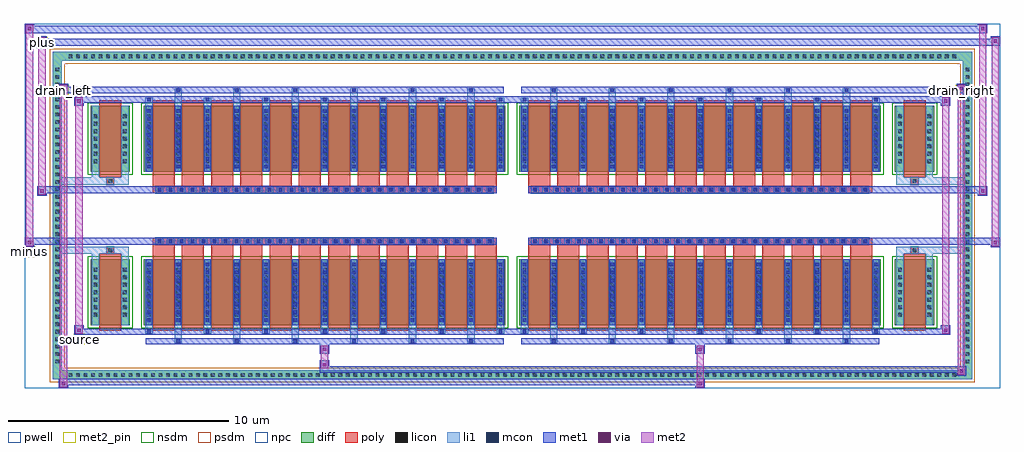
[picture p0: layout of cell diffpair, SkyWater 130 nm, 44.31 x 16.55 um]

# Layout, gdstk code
import gdstk
lib = gdstk.Library(unit=1e-6, precision=5e-09)
def R(c, l, rs):  # rectangles x0, y0, x1, y1
    for r in rs: c.add(gdstk.rectangle(r[:2], r[2:], *l))
def A(c, l, x, y, w, h, nx, ny, dx, dy):  # array of equal rectangles
    R(c, l, [(x+i*dx, y+j*dy, x+i*dx+w, y+j*dy+h) for i in range(nx) for j in range(ny)])
def P(c, l, *ps):  # polygons
    for p in ps: c.add(gdstk.Polygon(p, *l))
pwell = (64, 44)
diff = (65, 20)
poly = (66, 20)
licon = (66, 44)
li1 = (67, 20)
mcon = (67, 44)
met1 = (68, 20)
via = (68, 44)
met2_pin = (69, 16)
met2 = (69, 20)
nsdm = (93, 44)
psdm = (94, 20)
npc = (95, 20)

diffpair = lib.new_cell('diffpair')
R(diffpair, pwell, [(-22.14,-7.84,22.14,8.71), (-19.46,-6.03,-0.01,-0.805), (0.01,-6.03,19.46,-0.805), (-19.46,0.805,-0.01,6.03), (0.01,0.805,19.46,6.03)])
A(diffpair, diff, -20.265, -7.44, 0.41, 0.41, 119, 2, 0.34, 14.47)
A(diffpair, diff, -20.87, -6.835, 0.41, 0.41, 1, 40, 0, 0.34)
A(diffpair, diff, 20.46, -6.835, 0.41, 0.41, 1, 40, 0, 0.34)
R(diffpair, diff, [(-20.265,-7.44,20.265,-7.03), (-20.87,-6.835,-20.46,6.835), (20.46,-6.835,20.87,6.835), (-19.15,-4.985,-17.37,-1.985), (-16.73,-4.985,-0.32,-1.985), (0.32,-4.985,16.73,-1.985), (17.37,-4.985,19.15,-1.985), (-19.15,1.985,-17.37,4.985), (-16.73,1.985,-0.32,4.985), (0.32,1.985,16.73,4.985), (17.37,1.985,19.15,4.985), (-20.265,7.03,20.265,7.44)])
P(diffpair, diff, [(20.87,7.44),(-20.87,7.44),(-20.87,-7.03),(-20.46,-7.03),(-20.46,7.03),(20.46,7.03),(20.46,-7.03),(-20.46,-7.03),(-20.87,-7.03),(-20.87,-7.44),(20.87,-7.44)])
A(diffpair, poly, -16.34, -5.235, 1, 3.5, 12, 2, 1.33, 6.97)
A(diffpair, poly, 0.71, -5.235, 1, 3.5, 12, 2, 1.33, 6.97)
A(diffpair, poly, -16.34, -1.735, 1, 0.4, 12, 2, 1.33, 3.07)
A(diffpair, poly, 0.71, -1.735, 1, 0.4, 12, 2, 1.33, 3.07)
A(diffpair, poly, -16.19, -1.335, 0.33, 0.33, 31, 2, 0.5, 2.34)
A(diffpair, poly, 0.86, -1.335, 0.33, 0.33, 31, 2, 0.5, 2.34)
R(diffpair, poly, [(-18.76,-5.235,-17.76,-1.735), (17.76,-5.235,18.76,-1.735), (-18.425,-1.735,-18.095,-1.405), (-18.425,-1.735,-18.095,-1.405), (18.095,-1.735,18.425,-1.405), (18.095,-1.735,18.425,-1.405), (-16.34,-1.335,-0.71,-1.005), (0.71,-1.335,16.34,-1.005), (-16.34,1.005,-0.71,1.335), (0.71,1.005,16.34,1.335), (-18.425,1.405,-18.095,1.735), (-18.425,1.405,-18.095,1.735), (18.095,1.405,18.425,1.735), (18.095,1.405,18.425,1.735), (-18.76,1.735,-17.76,5.235), (17.76,1.735,18.76,5.235)])
A(diffpair, licon, -20.145, -7.32, 0.17, 0.17, 119, 2, 0.34, 14.47)
A(diffpair, licon, -20.75, -6.715, 0.17, 0.17, 1, 40, 0, 0.34)
A(diffpair, licon, 20.58, -6.715, 0.17, 0.17, 1, 40, 0, 0.34)
A(diffpair, licon, -19.01, -4.59, 0.17, 0.17, 1, 7, 0, 0.34)
A(diffpair, licon, -17.68, -4.59, 0.17, 0.17, 1, 7, 0, 0.34)
A(diffpair, licon, -16.59, -4.59, 0.17, 0.17, 13, 7, 1.33, 0.34)
A(diffpair, licon, 0.46, -4.59, 0.17, 0.17, 13, 7, 1.33, 0.34)
A(diffpair, licon, 17.51, -4.59, 0.17, 0.17, 1, 7, 0, 0.34)
A(diffpair, licon, 18.84, -4.59, 0.17, 0.17, 1, 7, 0, 0.34)
A(diffpair, licon, -16.11, -1.255, 0.17, 0.17, 31, 2, 0.5, 2.34)
A(diffpair, licon, 0.94, -1.255, 0.17, 0.17, 31, 2, 0.5, 2.34)
A(diffpair, licon, -19.01, 2.38, 0.17, 0.17, 1, 7, 0, 0.34)
A(diffpair, licon, -17.68, 2.38, 0.17, 0.17, 1, 7, 0, 0.34)
A(diffpair, licon, -16.59, 2.38, 0.17, 0.17, 13, 7, 1.33, 0.34)
A(diffpair, licon, 0.46, 2.38, 0.17, 0.17, 13, 7, 1.33, 0.34)
A(diffpair, licon, 17.51, 2.38, 0.17, 0.17, 1, 7, 0, 0.34)
A(diffpair, licon, 18.84, 2.38, 0.17, 0.17, 1, 7, 0, 0.34)
R(diffpair, licon, [(-18.345,-1.655,-18.175,-1.485), (18.175,-1.655,18.345,-1.485), (-18.345,1.485,-18.175,1.655), (18.175,1.485,18.345,1.655)])
A(diffpair, li1, -20.225, -7.4, 0.33, 0.33, 119, 2, 0.34, 14.47)
A(diffpair, li1, -20.83, -6.795, 0.33, 0.33, 1, 40, 0, 0.34)
A(diffpair, li1, 20.5, -6.795, 0.33, 0.33, 1, 40, 0, 0.34)
A(diffpair, li1, -15.34, -5.79, 0.33, 0.805, 6, 2, 2.66, 10.775)
A(diffpair, li1, -15.26, -5.79, 0.17, 0.17, 6, 2, 2.66, 11.41)
A(diffpair, li1, 1.71, -5.79, 0.33, 0.805, 6, 2, 2.66, 10.775)
A(diffpair, li1, 1.79, -5.79, 0.17, 0.17, 6, 2, 2.66, 11.41)
A(diffpair, li1, -16.67, -5.36, 0.33, 0.375, 7, 2, 2.66, 10.345)
A(diffpair, li1, -16.59, -5.36, 0.17, 0.17, 7, 2, 2.66, 10.55)
A(diffpair, li1, 0.38, -5.36, 0.33, 0.375, 7, 2, 2.66, 10.345)
A(diffpair, li1, 0.46, -5.36, 0.17, 0.17, 7, 2, 2.66, 10.55)
A(diffpair, li1, -16.67, -4.985, 0.33, 3, 13, 2, 1.33, 6.97)
A(diffpair, li1, 0.38, -4.985, 0.33, 3, 13, 2, 1.33, 6.97)
A(diffpair, li1, -16.59, -4.83, 0.17, 0.17, 13, 8, 1.33, 0.36)
A(diffpair, li1, -16.59, -4.83, 0.17, 2.69, 13, 2, 1.33, 6.97)
A(diffpair, li1, 0.46, -4.83, 0.17, 0.17, 13, 8, 1.33, 0.36)
A(diffpair, li1, 0.46, -4.83, 0.17, 2.69, 13, 2, 1.33, 6.97)
A(diffpair, li1, -19.09, -4.67, 0.33, 0.33, 1, 7, 0, 0.34)
A(diffpair, li1, -17.76, -4.67, 0.33, 0.33, 1, 7, 0, 0.34)
A(diffpair, li1, -16.67, -4.67, 0.33, 0.33, 13, 7, 1.33, 0.34)
A(diffpair, li1, 0.38, -4.67, 0.33, 0.33, 13, 7, 1.33, 0.34)
A(diffpair, li1, 17.43, -4.67, 0.33, 0.33, 1, 7, 0, 0.34)
A(diffpair, li1, 18.76, -4.67, 0.33, 0.33, 1, 7, 0, 0.34)
A(diffpair, li1, -16.19, -1.335, 0.33, 0.33, 31, 2, 0.5, 2.34)
A(diffpair, li1, 0.86, -1.335, 0.33, 0.33, 31, 2, 0.5, 2.34)
A(diffpair, li1, -16.59, 2.14, 0.17, 0.17, 13, 8, 1.33, 0.36)
A(diffpair, li1, 0.46, 2.14, 0.17, 0.17, 13, 8, 1.33, 0.36)
A(diffpair, li1, -19.09, 2.3, 0.33, 0.33, 1, 7, 0, 0.34)
A(diffpair, li1, -17.76, 2.3, 0.33, 0.33, 1, 7, 0, 0.34)
A(diffpair, li1, -16.67, 2.3, 0.33, 0.33, 13, 7, 1.33, 0.34)
A(diffpair, li1, 0.38, 2.3, 0.33, 0.33, 13, 7, 1.33, 0.34)
A(diffpair, li1, 17.43, 2.3, 0.33, 0.33, 1, 7, 0, 0.34)
A(diffpair, li1, 18.76, 2.3, 0.33, 0.33, 1, 7, 0, 0.34)
R(diffpair, li1, [(-20.87,-7.44,-20.46,-7.03), (-20.87,-7.44,-20.46,-7.03), (-20.46,-7.44,20.46,-7.03), (20.46,-7.44,20.87,-7.03), (20.46,-7.44,20.87,-7.03), (-20.87,-7.03,-20.46,7.03), (20.46,-7.03,20.87,7.03), (-19.09,-4.985,-18.76,-1.985), (-17.76,-4.985,-17.43,-1.985), (17.43,-4.985,17.76,-1.985), (18.76,-4.985,19.09,-1.985), (-19.09,-1.985,-18.76,-1.405), (-17.76,-1.985,-17.43,-1.405), (17.43,-1.985,17.76,-1.405), (18.76,-1.985,19.09,-1.405), (-20.87,-1.735,-18.425,-1.405), (-19.09,-1.735,-18.425,-1.405), (-18.425,-1.735,-18.095,-1.405), (-18.095,-1.735,-17.43,-1.405), (17.43,-1.735,18.095,-1.405), (18.095,-1.735,18.425,-1.405), (18.095,-1.735,20.87,-1.405), (18.425,-1.735,19.09,-1.405), (-20.87,1.405,-18.425,1.735), (-19.09,1.405,-18.425,1.735), (-19.09,1.405,-18.76,1.985), (-18.425,1.405,-18.095,1.735), (-18.095,1.405,-17.43,1.735), (-17.76,1.405,-17.43,1.985), (17.43,1.405,18.095,1.735), (17.43,1.405,17.76,1.985), (18.095,1.405,18.425,1.735), (18.095,1.405,20.87,1.735), (18.425,1.405,19.09,1.735), (18.76,1.405,19.09,1.985), (-19.09,1.985,-18.76,4.985), (-17.76,1.985,-17.43,4.985), (17.43,1.985,17.76,4.985), (18.76,1.985,19.09,4.985), (-20.87,7.03,-20.46,7.44), (-20.87,7.03,-20.46,7.44), (-20.46,7.03,20.46,7.44), (20.46,7.03,20.87,7.44), (20.46,7.03,20.87,7.44)])
A(diffpair, mcon, -15.26, -5.79, 0.17, 0.17, 6, 2, 2.66, 11.41)
A(diffpair, mcon, 1.79, -5.79, 0.17, 0.17, 6, 2, 2.66, 11.41)
A(diffpair, mcon, -16.59, -5.36, 0.17, 0.17, 7, 2, 2.66, 10.55)
A(diffpair, mcon, 0.46, -5.36, 0.17, 0.17, 7, 2, 2.66, 10.55)
A(diffpair, mcon, -16.59, -4.83, 0.17, 0.17, 13, 8, 1.33, 0.36)
A(diffpair, mcon, 0.46, -4.83, 0.17, 0.17, 13, 8, 1.33, 0.36)
A(diffpair, mcon, -16.11, -1.255, 0.17, 0.17, 31, 2, 0.5, 2.34)
A(diffpair, mcon, 0.94, -1.255, 0.17, 0.17, 31, 2, 0.5, 2.34)
A(diffpair, mcon, -16.59, 2.14, 0.17, 0.17, 13, 8, 1.33, 0.36)
A(diffpair, mcon, 0.46, 2.14, 0.17, 0.17, 13, 8, 1.33, 0.36)
A(diffpair, met1, -15.32, -5.85, 0.29, 0.29, 6, 2, 2.66, 11.41)
A(diffpair, met1, 1.73, -5.85, 0.29, 0.29, 6, 2, 2.66, 11.41)
A(diffpair, met1, -16.65, -5.42, 0.29, 0.29, 7, 2, 2.66, 10.55)
A(diffpair, met1, 0.4, -5.42, 0.29, 0.29, 7, 2, 2.66, 10.55)
A(diffpair, met1, -16.65, -4.985, 0.29, 3, 13, 2, 1.33, 6.97)
A(diffpair, met1, 0.4, -4.985, 0.29, 3, 13, 2, 1.33, 6.97)
A(diffpair, met1, -16.65, -4.89, 0.29, 0.29, 13, 8, 1.33, 0.36)
A(diffpair, met1, 0.4, -4.89, 0.29, 0.29, 13, 8, 1.33, 0.36)
A(diffpair, met1, -16.17, -1.315, 0.29, 0.29, 31, 2, 0.5, 2.34)
A(diffpair, met1, 0.88, -1.315, 0.29, 0.29, 31, 2, 0.5, 2.34)
A(diffpair, met1, -16.65, 2.08, 0.29, 0.29, 13, 8, 1.33, 0.36)
A(diffpair, met1, 0.4, 2.08, 0.29, 0.29, 13, 8, 1.33, 0.36)
R(diffpair, met1, [(-20.6,-7.84,-20.17,-7.41), (8.31,-7.84,8.74,-7.41), (-20.6,-7.7,8.74,-7.41), (20.17,-7.27,20.6,-6.84), (-8.74,-7.13,20.6,-6.84), (-8.74,-6.99,-8.31,-6.56), (-8.74,-6.28,-8.31,-5.85), (8.31,-6.28,8.74,-5.85), (-16.65,-5.85,-0.4,-5.56), (0.4,-5.85,16.65,-5.56), (-19.89,-5.42,-19.46,-4.99), (-19.89,-5.42,-16.65,-5.13), (-16.65,-5.42,-0.4,-5.13), (-0.4,-5.42,0.4,-5.13), (0.4,-5.42,16.65,-5.13), (16.65,-5.42,19.89,-5.13), (19.46,-5.42,19.89,-4.99), (-22.14,-1.435,-21.71,-1.005), (21.71,-1.435,22.14,-1.005), (-22.14,-1.335,-0.71,-1.005), (-16.34,-1.335,-0.71,-1.005), (0.71,-1.335,16.34,-1.005), (0.71,-1.335,22.14,-1.005), (-21.57,0.905,-21.14,1.335), (21.14,0.905,21.57,1.335), (-21.57,1.005,-16.34,1.335), (-16.34,1.005,-0.71,1.335), (0.71,1.005,16.34,1.335), (16.34,1.005,21.57,1.335), (-19.89,4.99,-19.46,5.42), (19.46,4.99,19.89,5.42), (-19.89,5.13,-16.65,5.42), (-16.65,5.13,-0.4,5.42), (-0.4,5.13,0.4,5.42), (0.4,5.13,16.65,5.42), (16.65,5.13,19.89,5.42), (-20.6,5.56,-20.17,5.99), (-20.6,5.56,-16.65,5.85), (-16.65,5.56,-0.4,5.85), (0.4,5.56,16.65,5.85), (16.65,5.56,20.6,5.85), (20.17,5.56,20.6,5.99), (-21.57,7.71,-21.14,8.14), (-21.57,7.71,-19.46,8.04), (-19.46,7.71,19.46,8.04), (19.46,7.71,22.14,8.04), (21.71,7.71,22.14,8.14), (-22.14,8.28,-21.71,8.71), (-22.14,8.28,-19.46,8.61), (-19.46,8.28,19.46,8.61), (19.46,8.28,21.57,8.61), (21.14,8.28,21.57,8.71)])
R(diffpair, via, [(-20.46,-7.7,-20.31,-7.55), (8.45,-7.7,8.6,-7.55), (20.31,-7.13,20.46,-6.98), (-8.6,-6.85,-8.45,-6.7), (-8.6,-6.14,-8.45,-5.99), (8.45,-6.14,8.6,-5.99), (-19.75,-5.28,-19.6,-5.13), (19.6,-5.28,19.75,-5.13), (-22,-1.295,-21.85,-1.145), (21.85,-1.295,22,-1.145), (-21.43,1.045,-21.28,1.195), (21.28,1.045,21.43,1.195), (-19.75,5.13,-19.6,5.28), (19.6,5.13,19.75,5.28), (-20.46,5.7,-20.31,5.85), (20.31,5.7,20.46,5.85), (-21.43,7.85,-21.28,8), (21.85,7.85,22,8), (-22,8.42,-21.85,8.57), (21.28,8.42,21.43,8.57)])
R(diffpair, met2_pin, [(-19.925,-5.87,-19.425,-5.37), (-22.175,-1.885,-21.675,-1.385), (-20.635,5.44,-20.135,5.94), (20.135,5.44,20.635,5.94), (-21.605,7.59,-21.105,8.09)])
R(diffpair, met2, [(-20.55,-7.79,-20.22,-7.46), (-20.55,-7.79,-20.22,5.94), (8.36,-7.79,8.69,-7.46), (8.36,-7.46,8.69,-6.23), (20.22,-7.22,20.55,-6.89), (20.22,-7.22,20.55,5.94), (-8.69,-6.94,-8.36,-6.61), (-8.69,-6.61,-8.36,-6.23), (-8.69,-6.23,-8.36,-5.9), (8.36,-6.23,8.69,-5.9), (-19.84,-5.37,-19.51,-5.04), (-19.84,-5.37,-19.51,5.37), (19.51,-5.37,19.84,-5.04), (19.51,-5.37,19.84,5.37), (-22.09,-1.385,-21.76,-1.055), (-22.09,-1.385,-21.76,8.66), (21.76,-1.385,22.09,-1.055), (21.76,-1.385,22.09,8.09), (-21.52,0.955,-21.19,1.285), (-21.52,0.955,-21.19,8.09), (21.19,0.955,21.52,1.285), (21.19,0.955,21.52,8.66), (-19.84,5.04,-19.51,5.37), (19.51,5.04,19.84,5.37), (-20.55,5.61,-20.22,5.94), (20.22,5.61,20.55,5.94), (-21.52,7.76,-21.19,8.09), (21.76,7.76,22.09,8.09), (-22.09,8.33,-21.76,8.66), (21.19,8.33,21.52,8.66)])
P(diffpair, met2, [(22.09,-1.385),(22.09,-1.385),(22.09,-1.055),(22.09,-1.055)],
  [(22.09,7.76),(22.09,7.76),(22.09,8.09),(22.09,8.09)],
  [(-21.76,-1.385),(-21.76,-1.385),(-21.76,-1.055),(-21.76,-1.055)],
  [(-21.76,8.33),(-21.76,8.33),(-21.76,8.66),(-21.76,8.66)],
  [(21.52,0.955),(21.52,0.955),(21.52,1.285),(21.52,1.285)],
  [(21.52,8.33),(21.52,8.33),(21.52,8.66),(21.52,8.66)],
  [(-21.19,0.955),(-21.19,0.955),(-21.19,1.285),(-21.19,1.285)],
  [(-21.19,7.76),(-21.19,7.76),(-21.19,8.09),(-21.19,8.09)],
  [(-20.22,-7.79),(-20.22,-7.79),(-20.22,-7.46),(-20.22,-7.46)],
  [(-20.22,5.61),(-20.22,5.61),(-20.22,5.94),(-20.22,5.94)],
  [(20.55,-7.22),(20.55,-7.22),(20.55,-6.89),(20.55,-6.89)],
  [(20.55,5.61),(20.55,5.61),(20.55,5.94),(20.55,5.94)],
  [(-19.51,-5.37),(-19.51,-5.37),(-19.51,-5.04),(-19.51,-5.04)],
  [(-19.51,5.04),(-19.51,5.04),(-19.51,5.37),(-19.51,5.37)],
  [(19.84,-5.37),(19.84,-5.37),(19.84,-5.04),(19.84,-5.04)],
  [(19.84,5.04),(19.84,5.04),(19.84,5.37),(19.84,5.37)])
R(diffpair, nsdm, [(-19.28,-5.115,-17.24,-1.855), (-16.86,-5.115,-0.19,-1.855), (0.19,-5.115,16.86,-1.855), (17.24,-5.115,19.28,-1.855), (-19.28,1.855,-17.24,5.115), (-16.86,1.855,-0.19,5.115), (0.19,1.855,16.86,5.115), (17.24,1.855,19.28,5.115)])
P(diffpair, psdm, [(21,7.57),(-21,7.57),(-21,-6.9),(-20.33,-6.9),(-20.33,6.9),(20.33,6.9),(20.33,-6.9),(-20.33,-6.9),(-21,-6.9),(-21,-7.57),(21,-7.57)])
A(diffpair, npc, -16.21, -1.355, 0.37, 0.37, 31, 2, 0.5, 2.34)
A(diffpair, npc, 0.84, -1.355, 0.37, 0.37, 31, 2, 0.5, 2.34)
R(diffpair, npc, [(-18.445,-1.755,-18.075,-1.385), (18.075,-1.755,18.445,-1.385), (-16.21,-1.355,-15.34,-0.985), (-16.21,-1.355,-15.34,-0.985), (-15.71,-1.355,-14.84,-0.985), (-15.71,-1.355,-14.84,-0.985), (-15.21,-1.355,-14.34,-0.985), (-15.21,-1.355,-14.34,-0.985), (-14.71,-1.355,-13.84,-0.985), (-14.71,-1.355,-13.84,-0.985), (-14.21,-1.355,-13.34,-0.985), (-14.21,-1.355,-13.34,-0.985), (-13.71,-1.355,-12.84,-0.985), (-13.71,-1.355,-12.84,-0.985), (-13.21,-1.355,-12.34,-0.985), (-13.21,-1.355,-12.34,-0.985), (-12.71,-1.355,-11.84,-0.985), (-12.71,-1.355,-11.84,-0.985), (-12.21,-1.355,-11.34,-0.985), (-12.21,-1.355,-11.34,-0.985), (-11.71,-1.355,-10.84,-0.985), (-11.71,-1.355,-10.84,-0.985), (-11.21,-1.355,-10.34,-0.985), (-11.21,-1.355,-10.34,-0.985), (-10.71,-1.355,-9.84,-0.985), (-10.71,-1.355,-9.84,-0.985), (-10.21,-1.355,-9.34,-0.985), (-10.21,-1.355,-9.34,-0.985), (-9.71,-1.355,-8.84,-0.985), (-9.71,-1.355,-8.84,-0.985), (-9.21,-1.355,-8.34,-0.985), (-9.21,-1.355,-8.34,-0.985), (-8.71,-1.355,-7.84,-0.985), (-8.71,-1.355,-7.84,-0.985), (-8.21,-1.355,-7.34,-0.985), (-8.21,-1.355,-7.34,-0.985), (-7.71,-1.355,-6.84,-0.985), (-7.71,-1.355,-6.84,-0.985), (-7.21,-1.355,-6.34,-0.985), (-7.21,-1.355,-6.34,-0.985), (-6.71,-1.355,-5.84,-0.985), (-6.71,-1.355,-5.84,-0.985), (-6.21,-1.355,-5.34,-0.985), (-6.21,-1.355,-5.34,-0.985), (-5.71,-1.355,-4.84,-0.985), (-5.71,-1.355,-4.84,-0.985), (-5.21,-1.355,-4.34,-0.985), (-5.21,-1.355,-4.34,-0.985), (-4.71,-1.355,-3.84,-0.985), (-4.71,-1.355,-3.84,-0.985), (-4.21,-1.355,-3.34,-0.985), (-4.21,-1.355,-3.34,-0.985), (-3.71,-1.355,-2.84,-0.985), (-3.71,-1.355,-2.84,-0.985), (-3.21,-1.355,-2.34,-0.985), (-3.21,-1.355,-2.34,-0.985), (-2.71,-1.355,-1.84,-0.985), (-2.71,-1.355,-1.84,-0.985), (-2.21,-1.355,-1.34,-0.985), (-2.21,-1.355,-1.34,-0.985), (-1.71,-1.355,-0.84,-0.985), (-1.71,-1.355,-0.84,-0.985), (0.84,-1.355,1.71,-0.985), (0.84,-1.355,1.71,-0.985), (1.34,-1.355,2.21,-0.985), (1.34,-1.355,2.21,-0.985), (1.84,-1.355,2.71,-0.985), (1.84,-1.355,2.71,-0.985), (2.34,-1.355,3.21,-0.985), (2.34,-1.355,3.21,-0.985), (2.84,-1.355,3.71,-0.985), (2.84,-1.355,3.71,-0.985), (3.34,-1.355,4.21,-0.985), (3.34,-1.355,4.21,-0.985), (3.84,-1.355,4.71,-0.985), (3.84,-1.355,4.71,-0.985), (4.34,-1.355,5.21,-0.985), (4.34,-1.355,5.21,-0.985), (4.84,-1.355,5.71,-0.985), (4.84,-1.355,5.71,-0.985), (5.34,-1.355,6.21,-0.985), (5.34,-1.355,6.21,-0.985), (5.84,-1.355,6.71,-0.985), (5.84,-1.355,6.71,-0.985), (6.34,-1.355,7.21,-0.985), (6.34,-1.355,7.21,-0.985), (6.84,-1.355,7.71,-0.985), (6.84,-1.355,7.71,-0.985), (7.34,-1.355,8.21,-0.985), (7.34,-1.355,8.21,-0.985), (7.84,-1.355,8.71,-0.985), (7.84,-1.355,8.71,-0.985), (8.34,-1.355,9.21,-0.985), (8.34,-1.355,9.21,-0.985), (8.84,-1.355,9.71,-0.985), (8.84,-1.355,9.71,-0.985), (9.34,-1.355,10.21,-0.985), (9.34,-1.355,10.21,-0.985), (9.84,-1.355,10.71,-0.985), (9.84,-1.355,10.71,-0.985), (10.34,-1.355,11.21,-0.985), (10.34,-1.355,11.21,-0.985), (10.84,-1.355,11.71,-0.985), (10.84,-1.355,11.71,-0.985), (11.34,-1.355,12.21,-0.985), (11.34,-1.355,12.21,-0.985), (11.84,-1.355,12.71,-0.985), (11.84,-1.355,12.71,-0.985), (12.34,-1.355,13.21,-0.985), (12.34,-1.355,13.21,-0.985), (12.84,-1.355,13.71,-0.985), (12.84,-1.355,13.71,-0.985), (13.34,-1.355,14.21,-0.985), (13.34,-1.355,14.21,-0.985), (13.84,-1.355,14.71,-0.985), (13.84,-1.355,14.71,-0.985), (14.34,-1.355,15.21,-0.985), (14.34,-1.355,15.21,-0.985), (14.84,-1.355,15.71,-0.985), (14.84,-1.355,15.71,-0.985), (15.34,-1.355,16.21,-0.985), (15.34,-1.355,16.21,-0.985), (-16.21,0.985,-15.34,1.355), (-16.21,0.985,-15.34,1.355), (-15.71,0.985,-14.84,1.355), (-15.71,0.985,-14.84,1.355), (-15.21,0.985,-14.34,1.355), (-15.21,0.985,-14.34,1.355), (-14.71,0.985,-13.84,1.355), (-14.71,0.985,-13.84,1.355), (-14.21,0.985,-13.34,1.355), (-14.21,0.985,-13.34,1.355), (-13.71,0.985,-12.84,1.355), (-13.71,0.985,-12.84,1.355), (-13.21,0.985,-12.34,1.355), (-13.21,0.985,-12.34,1.355), (-12.71,0.985,-11.84,1.355), (-12.71,0.985,-11.84,1.355), (-12.21,0.985,-11.34,1.355), (-12.21,0.985,-11.34,1.355), (-11.71,0.985,-10.84,1.355), (-11.71,0.985,-10.84,1.355), (-11.21,0.985,-10.34,1.355), (-11.21,0.985,-10.34,1.355), (-10.71,0.985,-9.84,1.355), (-10.71,0.985,-9.84,1.355), (-10.21,0.985,-9.34,1.355), (-10.21,0.985,-9.34,1.355), (-9.71,0.985,-8.84,1.355), (-9.71,0.985,-8.84,1.355), (-9.21,0.985,-8.34,1.355), (-9.21,0.985,-8.34,1.355), (-8.71,0.985,-7.84,1.355), (-8.71,0.985,-7.84,1.355), (-8.21,0.985,-7.34,1.355), (-8.21,0.985,-7.34,1.355), (-7.71,0.985,-6.84,1.355), (-7.71,0.985,-6.84,1.355), (-7.21,0.985,-6.34,1.355), (-7.21,0.985,-6.34,1.355), (-6.71,0.985,-5.84,1.355), (-6.71,0.985,-5.84,1.355), (-6.21,0.985,-5.34,1.355), (-6.21,0.985,-5.34,1.355), (-5.71,0.985,-4.84,1.355), (-5.71,0.985,-4.84,1.355), (-5.21,0.985,-4.34,1.355), (-5.21,0.985,-4.34,1.355), (-4.71,0.985,-3.84,1.355), (-4.71,0.985,-3.84,1.355), (-4.21,0.985,-3.34,1.355), (-4.21,0.985,-3.34,1.355), (-3.71,0.985,-2.84,1.355), (-3.71,0.985,-2.84,1.355), (-3.21,0.985,-2.34,1.355), (-3.21,0.985,-2.34,1.355), (-2.71,0.985,-1.84,1.355), (-2.71,0.985,-1.84,1.355), (-2.21,0.985,-1.34,1.355), (-2.21,0.985,-1.34,1.355), (-1.71,0.985,-0.84,1.355), (-1.71,0.985,-0.84,1.355), (0.84,0.985,1.71,1.355), (0.84,0.985,1.71,1.355), (1.34,0.985,2.21,1.355), (1.34,0.985,2.21,1.355), (1.84,0.985,2.71,1.355), (1.84,0.985,2.71,1.355), (2.34,0.985,3.21,1.355), (2.34,0.985,3.21,1.355), (2.84,0.985,3.71,1.355), (2.84,0.985,3.71,1.355), (3.34,0.985,4.21,1.355), (3.34,0.985,4.21,1.355), (3.84,0.985,4.71,1.355), (3.84,0.985,4.71,1.355), (4.34,0.985,5.21,1.355), (4.34,0.985,5.21,1.355), (4.84,0.985,5.71,1.355), (4.84,0.985,5.71,1.355), (5.34,0.985,6.21,1.355), (5.34,0.985,6.21,1.355), (5.84,0.985,6.71,1.355), (5.84,0.985,6.71,1.355), (6.34,0.985,7.21,1.355), (6.34,0.985,7.21,1.355), (6.84,0.985,7.71,1.355), (6.84,0.985,7.71,1.355), (7.34,0.985,8.21,1.355), (7.34,0.985,8.21,1.355), (7.84,0.985,8.71,1.355), (7.84,0.985,8.71,1.355), (8.34,0.985,9.21,1.355), (8.34,0.985,9.21,1.355), (8.84,0.985,9.71,1.355), (8.84,0.985,9.71,1.355), (9.34,0.985,10.21,1.355), (9.34,0.985,10.21,1.355), (9.84,0.985,10.71,1.355), (9.84,0.985,10.71,1.355), (10.34,0.985,11.21,1.355), (10.34,0.985,11.21,1.355), (10.84,0.985,11.71,1.355), (10.84,0.985,11.71,1.355), (11.34,0.985,12.21,1.355), (11.34,0.985,12.21,1.355), (11.84,0.985,12.71,1.355), (11.84,0.985,12.71,1.355), (12.34,0.985,13.21,1.355), (12.34,0.985,13.21,1.355), (12.84,0.985,13.71,1.355), (12.84,0.985,13.71,1.355), (13.34,0.985,14.21,1.355), (13.34,0.985,14.21,1.355), (13.84,0.985,14.71,1.355), (13.84,0.985,14.71,1.355), (14.34,0.985,15.21,1.355), (14.34,0.985,15.21,1.355), (14.84,0.985,15.71,1.355), (14.84,0.985,15.71,1.355), (15.34,0.985,16.21,1.355), (15.34,0.985,16.21,1.355), (-18.445,1.385,-18.075,1.755), (18.075,1.385,18.445,1.755)])
diffpair.add(gdstk.Label('minus', (-21.925,-1.635), layer=69, texttype=5))
diffpair.add(gdstk.Label('drain_right', (20.385,5.69), layer=69, texttype=5))
diffpair.add(gdstk.Label('drain_left', (-20.385,5.69), layer=69, texttype=5))
diffpair.add(gdstk.Label('source', (-19.675,-5.62), layer=69, texttype=5))
diffpair.add(gdstk.Label('plus', (-21.355,7.84), layer=69, texttype=5))

lib.write_gds('diffpair.gds')
